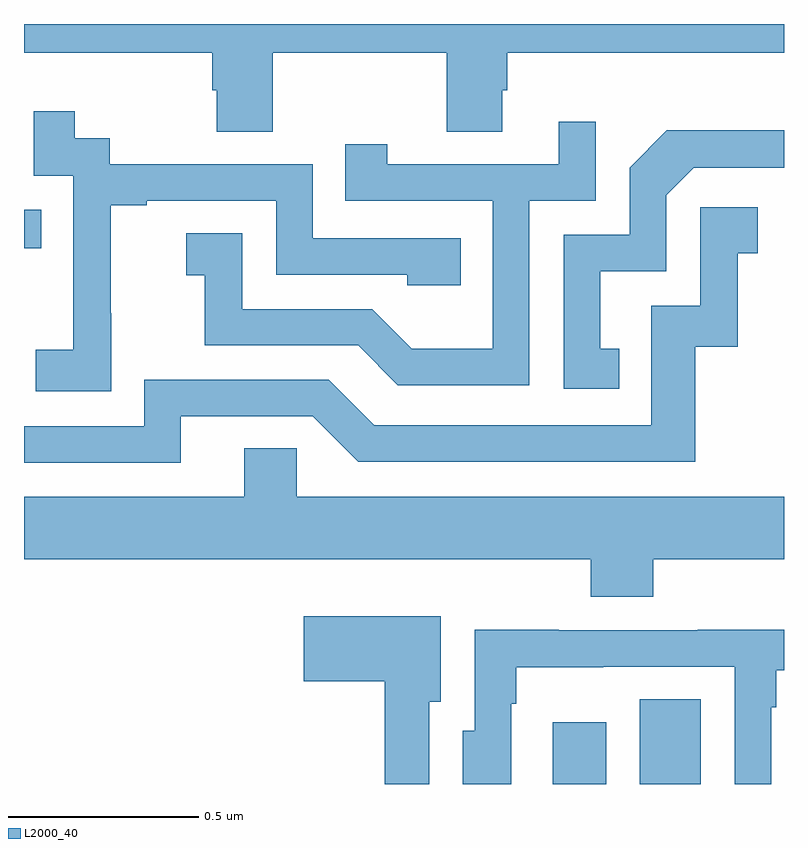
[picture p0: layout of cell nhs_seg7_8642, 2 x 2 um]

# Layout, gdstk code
import gdstk
lib = gdstk.Library(unit=1e-6, precision=1e-09)
def R(c, l, rs):  # rectangles x0, y0, x1, y1
    for r in rs: c.add(gdstk.rectangle(r[:2], r[2:], *l))
def P(c, l, *ps):  # polygons
    for p in ps: c.add(gdstk.Polygon(p, *l))
L2000_40 = (2000, 40)

nhs_seg7_8642 = lib.new_cell('nhs_seg7_8642')
R(nhs_seg7_8642, L2000_40, [(228.392,1024,228.532,1024.162), (228.62,1024,228.781,1024.223), (227,1025.41,227.045,1025.511)])
P(nhs_seg7_8642, L2000_40, [(227.655,1025.924),(228.112,1025.924),(228.112,1025.716),(228.259,1025.716),(228.259,1025.826),(228.272,1025.826),(228.272,1025.924),(229,1025.924),(229,1026),(227,1026),(227,1025.924),(227.495,1025.924),(227.495,1025.826),(227.507,1025.826),(227.507,1025.716),(227.655,1025.716)],
  [(227.229,1025.239),(227.228,1025.239),(227.228,1025.523),(227.323,1025.523),(227.323,1025.535),(227.664,1025.535),(227.664,1025.34),(228.009,1025.34),(228.009,1025.313),(228.149,1025.313),(228.149,1025.436),(227.76,1025.436),(227.76,1025.631),(227.226,1025.631),(227.226,1025.7),(227.134,1025.7),(227.134,1025.77),(227.025,1025.77),(227.025,1025.601),(227.13,1025.601),(227.13,1025.372),(227.129,1025.372),(227.129,1025.143),(227.031,1025.143),(227.031,1025.033),(227.229,1025.033)],
  [(228.33,1025.535),(228.504,1025.535),(228.504,1025.743),(228.407,1025.743),(228.407,1025.631),(227.956,1025.631),(227.956,1025.683),(227.845,1025.683),(227.845,1025.535),(228.234,1025.535),(228.234,1025.146),(228.02,1025.146),(227.916,1025.25),(227.574,1025.25),(227.574,1025.449),(227.427,1025.449),(227.427,1025.339),(227.476,1025.339),(227.476,1025.154),(227.879,1025.154),(227.984,1025.049),(228.33,1025.049)],
  [(228.566,1025.145),(228.517,1025.145),(228.517,1025.349),(228.69,1025.349),(228.69,1025.55),(228.762,1025.622),(229,1025.622),(229,1025.72),(228.692,1025.72),(228.594,1025.622),(228.594,1025.445),(228.42,1025.445),(228.42,1025.04),(228.566,1025.04)],
  [(227.413,1024.968),(227.76,1024.968),(227.88,1024.848),(228.767,1024.848),(228.767,1025.151),(228.878,1025.151),(228.878,1025.397),(228.931,1025.397),(228.931,1025.518),(228.78,1025.518),(228.78,1025.259),(228.651,1025.259),(228.651,1024.944),(227.922,1024.944),(227.802,1025.064),(227.316,1025.064),(227.316,1024.941),(227,1024.941),(227,1024.845),(227.413,1024.845)],
  [(228.656,1024.592),(229,1024.592),(229,1024.756),(227.718,1024.756),(227.718,1024.883),(227.579,1024.883),(227.579,1024.756),(227,1024.756),(227,1024.592),(228.491,1024.592),(228.491,1024.493),(228.656,1024.493)],
  [(228.067,1024.217),(228.097,1024.217),(228.097,1024.441),(227.736,1024.441),(227.736,1024.271),(227.949,1024.271),(227.949,1024),(228.067,1024)],
  [(228.282,1024.211),(228.295,1024.211),(228.295,1024.307),(228.524,1024.307),(228.524,1024.308),(228.87,1024.308),(228.87,1024),(228.966,1024),(228.966,1024.202),(228.979,1024.202),(228.979,1024.3),(229,1024.3),(229,1024.406),(228.773,1024.406),(228.773,1024.404),(228.407,1024.404),(228.407,1024.406),(228.186,1024.406),(228.186,1024.14),(228.155,1024.14),(228.155,1024),(228.282,1024)])

lib.write_gds('nhs_seg7_8642.gds')
